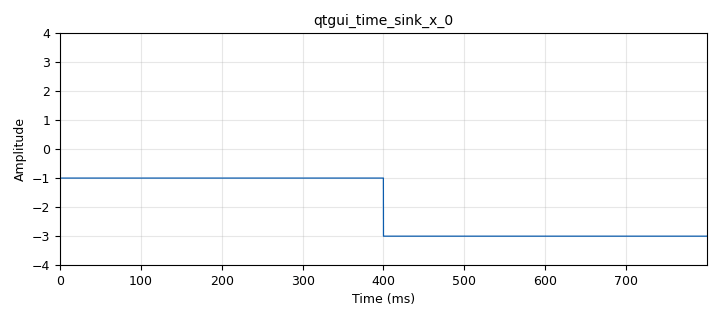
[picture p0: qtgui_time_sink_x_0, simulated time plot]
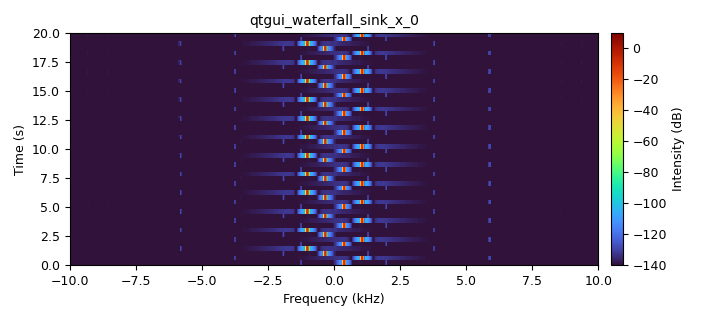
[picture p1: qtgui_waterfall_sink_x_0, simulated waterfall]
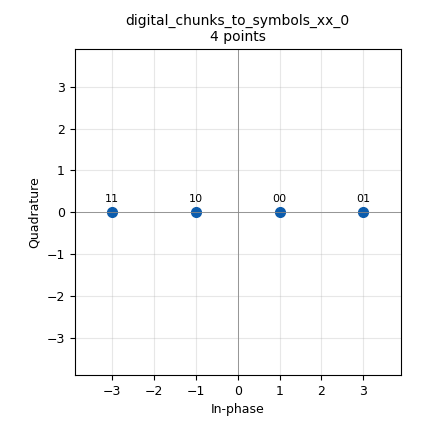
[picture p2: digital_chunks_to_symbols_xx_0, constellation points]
<?xml version='1.0' encoding='utf-8'?>
<?grc format='1' created='3.7.9'?>
<flow_graph>
<block>
<key>options</key>
<param><key>id</key><value>top_block</value></param>
<param><key>category</key><value>Custom</value></param>
<param><key>generate_options</key><value>qt_gui</value></param>
</block>
<block>
<key>variable_slider</key>
<param><key>id</key><value>fc</value></param>
<param><key>converver</key><value>float_converter</value></param>
<param><key>value</key><value>0</value></param>
<param><key>_enabled</key><value>0</value></param>
<param><key>label</key><value>Carrier Frequency</value></param>
<param><key>max</key><value>samp_rate/2</value></param>
<param><key>min</key><value>0</value></param>
<param><key>num_steps</key><value>100</value></param>
<param><key>style</key><value>wx.SL_HORIZONTAL</value></param>
</block>
<block>
<key>variable_qtgui_range</key>
<param><key>id</key><value>fsk_deviation_hz</value></param>
<param><key>value</key><value>350</value></param>
<param><key>orient</key><value>Qt.Horizontal</value></param>
<param><key>start</key><value>100</value></param>
<param><key>step</key><value>50</value></param>
<param><key>stop</key><value>10000</value></param>
</block>
<block>
<key>variable_slider</key>
<param><key>id</key><value>fsk_deviation_hz</value></param>
<param><key>converver</key><value>float_converter</value></param>
<param><key>value</key><value>350</value></param>
<param><key>_enabled</key><value>0</value></param>
<param><key>label</key><value>Mod Sensitivity</value></param>
<param><key>max</key><value>10000</value></param>
<param><key>min</key><value>100</value></param>
<param><key>num_steps</key><value>1000</value></param>
<param><key>style</key><value>wx.SL_HORIZONTAL</value></param>
</block>
<block>
<key>variable</key>
<param><key>id</key><value>pi</value></param>
<param><key>value</key><value>3.1415926535</value></param>
</block>
<block>
<key>variable</key>
<param><key>id</key><value>samp_rate</value></param>
<param><key>value</key><value>samples_per_symbol * 5</value></param>
</block>
<block>
<key>variable</key>
<param><key>id</key><value>samples_per_symbol</value></param>
<param><key>value</key><value>4000</value></param>
</block>
<block>
<key>analog_frequency_modulator_fc</key>
<param><key>id</key><value>analog_frequency_modulator_fc_1</value></param>
<param><key>sensitivity</key><value>2*pi*fsk_deviation_hz/samp_rate</value></param>
</block>
<block>
<key>analog_quadrature_demod_cf</key>
<param><key>id</key><value>analog_quadrature_demod_cf_0</value></param>
<param><key>_enabled</key><value>0</value></param>
<param><key>gain</key><value>samp_rate/(2*math.pi*fsk_deviation_hz/8.0)</value></param>
</block>
<block>
<key>blocks_file_sink</key>
<param><key>id</key><value>blocks_file_sink_0</value></param>
<param><key>_enabled</key><value>0</value></param>
<param><key>file</key><value>/home/cjam/Documents/colter-thesis/gnu-radio/test-out.dat</value></param>
<param><key>type</key><value>byte</value></param>
</block>
<block>
<key>blocks_file_source</key>
<param><key>id</key><value>blocks_file_source_0</value></param>
<param><key>_enabled</key><value>0</value></param>
<param><key>file</key><value>/home/cjam/Documents/colter-thesis/gnu-radio/test.txt</value></param>
<param><key>type</key><value>byte</value></param>
<param><key>repeat</key><value>False</value></param>
</block>
<block>
<key>blocks_packed_to_unpacked_xx</key>
<param><key>id</key><value>blocks_packed_to_unpacked_xx_0</value></param>
<param><key>bits_per_chunk</key><value>2</value></param>
<param><key>_enabled</key><value>2</value></param>
<param><key>endianness</key><value>gr.GR_LSB_FIRST</value></param>
<param><key>type</key><value>byte</value></param>
</block>
<block>
<key>blocks_repeat</key>
<param><key>id</key><value>blocks_repeat_0_0</value></param>
<param><key>interp</key><value>samples_per_symbol*2</value></param>
<param><key>type</key><value>float</value></param>
</block>
<block>
<key>blocks_throttle</key>
<param><key>id</key><value>blocks_throttle_0</value></param>
<param><key>samples_per_second</key><value>samp_rate</value></param>
<param><key>type</key><value>float</value></param>
</block>
<block>
<key>blocks_unpacked_to_packed_xx</key>
<param><key>id</key><value>blocks_unpacked_to_packed_xx_0</value></param>
<param><key>bits_per_chunk</key><value>2</value></param>
<param><key>_enabled</key><value>0</value></param>
<param><key>endianness</key><value>gr.GR_MSB_FIRST</value></param>
<param><key>type</key><value>byte</value></param>
</block>
<block>
<key>blocks_vector_source_x</key>
<param><key>id</key><value>blocks_vector_source_x_0</value></param>
<param><key>type</key><value>byte</value></param>
<param><key>repeat</key><value>True</value></param>
<param><key>vector</key><value>[0,1,2,3]</value></param>
</block>
<block>
<key>digital_binary_slicer_fb</key>
<param><key>id</key><value>digital_binary_slicer_fb_0</value></param>
<param><key>_enabled</key><value>0</value></param>
</block>
<block>
<key>digital_chunks_to_symbols_xx</key>
<param><key>id</key><value>digital_chunks_to_symbols_xx_0</value></param>
<param><key>dimension</key><value>1</value></param>
<param><key>in_type</key><value>byte</value></param>
<param><key>out_type</key><value>float</value></param>
<param><key>symbol_table</key><value>[1,3,-1,-3]</value></param>
</block>
<block>
<key>digital_clock_recovery_mm_xx</key>
<param><key>id</key><value>digital_clock_recovery_mm_xx_0</value></param>
<param><key>_enabled</key><value>0</value></param>
<param><key>gain_mu</key><value>0.175</value></param>
<param><key>gain_omega</key><value>0.25*0.175*0.175</value></param>
<param><key>mu</key><value>0.5</value></param>
<param><key>omega_relative_limit</key><value>0.005</value></param>
<param><key>omega</key><value>samples_per_symbol</value></param>
<param><key>type</key><value>float</value></param>
</block>
<block>
<key>note</key>
<param><key>id</key><value>note_0</value></param>
<param><key>note</key><value>Symbols</value></param>
</block>
<block>
<key>note</key>
<param><key>id</key><value>note_0_0</value></param>
<param><key>note</key><value>Modulation Signal</value></param>
</block>
<block>
<key>notebook</key>
<param><key>id</key><value>notebook</value></param>
<param><key>_enabled</key><value>0</value></param>
<param><key>grid_pos</key><value>0,0,10,10</value></param>
<param><key>labels</key><value>['FFT', 'Waterfall', 'Scope','tab4','tab5']</value></param>
<param><key>style</key><value>wx.NB_BOTTOM</value></param>
</block>
<block>
<key>qtgui_number_sink</key>
<param><key>id</key><value>qtgui_number_sink_0</value></param>
<param><key>graph_type</key><value>qtgui.NUM_GRAPH_HORIZ</value></param>
<param><key>type</key><value>float</value></param>
<param><key>max</key><value>4</value></param>
<param><key>min</key><value>-4</value></param>
</block>
<block>
<key>qtgui_time_sink_x</key>
<param><key>id</key><value>qtgui_time_sink_x_0</value></param>
<param><key>gui_hint</key><value>1,0,1,2</value></param>
<param><key>color1</key><value>"blue"</value></param>
<param><key>label1</key><value></value></param>
<param><key>size</key><value>4*samples_per_symbol</value></param>
<param><key>srate</key><value>samp_rate</value></param>
<param><key>type</key><value>float</value></param>
<param><key>ymax</key><value>4</value></param>
<param><key>ymin</key><value>-4</value></param>
</block>
<block>
<key>qtgui_waterfall_sink_x</key>
<param><key>id</key><value>qtgui_waterfall_sink_x_0</value></param>
<param><key>bw</key><value>samp_rate</value></param>
<param><key>fc</key><value>0</value></param>
<param><key>fftsize</key><value>1024</value></param>
<param><key>gui_hint</key><value>0,0,1,1</value></param>
<param><key>showports</key><value>True</value></param>
<param><key>type</key><value>complex</value></param>
<param><key>wintype</key><value>firdes.WIN_BLACKMAN_hARRIS</value></param>
</block>
<block>
<key>virtual_sink</key>
<param><key>id</key><value>virtual_sink_0</value></param>
<param><key>stream_id</key><value>symbols</value></param>
</block>
<block>
<key>virtual_sink</key>
<param><key>id</key><value>virtual_sink_1</value></param>
<param><key>stream_id</key><value>mod_signal</value></param>
</block>
<block>
<key>virtual_source</key>
<param><key>id</key><value>virtual_source_0</value></param>
<param><key>stream_id</key><value>symbols</value></param>
</block>
<block>
<key>virtual_source</key>
<param><key>id</key><value>virtual_source_0_0</value></param>
<param><key>_enabled</key><value>0</value></param>
<param><key>stream_id</key><value>mod_signal</value></param>
</block>
<block>
<key>virtual_source</key>
<param><key>id</key><value>virtual_source_0_0_0</value></param>
<param><key>stream_id</key><value>mod_signal</value></param>
</block>
<block>
<key>virtual_source</key>
<param><key>id</key><value>virtual_source_1</value></param>
<param><key>stream_id</key><value>symbols</value></param>
</block>
<connection><source_block_id>analog_frequency_modulator_fc_1</source_block_id><sink_block_id>virtual_sink_1</sink_block_id><source_key>0</source_key><sink_key>0</sink_key></connection>
<connection><source_block_id>analog_quadrature_demod_cf_0</source_block_id><sink_block_id>digital_clock_recovery_mm_xx_0</sink_block_id><source_key>0</source_key><sink_key>0</sink_key></connection>
<connection><source_block_id>blocks_file_source_0</source_block_id><sink_block_id>blocks_packed_to_unpacked_xx_0</sink_block_id><source_key>0</source_key><sink_key>0</sink_key></connection>
<connection><source_block_id>blocks_packed_to_unpacked_xx_0</source_block_id><sink_block_id>digital_chunks_to_symbols_xx_0</sink_block_id><source_key>0</source_key><sink_key>0</sink_key></connection>
<connection><source_block_id>blocks_repeat_0_0</source_block_id><sink_block_id>blocks_throttle_0</sink_block_id><source_key>0</source_key><sink_key>0</sink_key></connection>
<connection><source_block_id>blocks_throttle_0</source_block_id><sink_block_id>virtual_sink_0</sink_block_id><source_key>0</source_key><sink_key>0</sink_key></connection>
<connection><source_block_id>blocks_unpacked_to_packed_xx_0</source_block_id><sink_block_id>blocks_file_sink_0</sink_block_id><source_key>0</source_key><sink_key>0</sink_key></connection>
<connection><source_block_id>blocks_vector_source_x_0</source_block_id><sink_block_id>blocks_packed_to_unpacked_xx_0</sink_block_id><source_key>0</source_key><sink_key>0</sink_key></connection>
<connection><source_block_id>digital_binary_slicer_fb_0</source_block_id><sink_block_id>blocks_unpacked_to_packed_xx_0</sink_block_id><source_key>0</source_key><sink_key>0</sink_key></connection>
<connection><source_block_id>digital_chunks_to_symbols_xx_0</source_block_id><sink_block_id>blocks_repeat_0_0</sink_block_id><source_key>0</source_key><sink_key>0</sink_key></connection>
<connection><source_block_id>digital_clock_recovery_mm_xx_0</source_block_id><sink_block_id>digital_binary_slicer_fb_0</sink_block_id><source_key>0</source_key><sink_key>0</sink_key></connection>
<connection><source_block_id>virtual_source_0</source_block_id><sink_block_id>qtgui_number_sink_0</sink_block_id><source_key>0</source_key><sink_key>0</sink_key></connection>
<connection><source_block_id>virtual_source_0</source_block_id><sink_block_id>qtgui_time_sink_x_0</sink_block_id><source_key>0</source_key><sink_key>0</sink_key></connection>
<connection><source_block_id>virtual_source_0_0</source_block_id><sink_block_id>analog_quadrature_demod_cf_0</sink_block_id><source_key>0</source_key><sink_key>0</sink_key></connection>
<connection><source_block_id>virtual_source_0_0_0</source_block_id><sink_block_id>qtgui_waterfall_sink_x_0</sink_block_id><source_key>0</source_key><sink_key>0</sink_key></connection>
<connection><source_block_id>virtual_source_1</source_block_id><sink_block_id>analog_frequency_modulator_fc_1</sink_block_id><source_key>0</source_key><sink_key>0</sink_key></connection>
</flow_graph>
